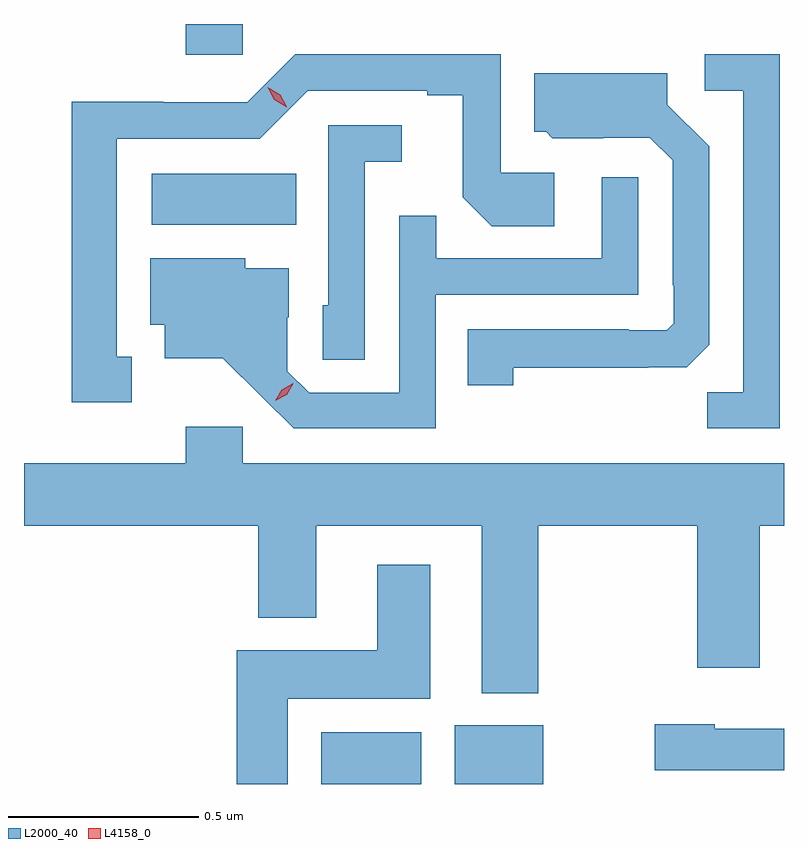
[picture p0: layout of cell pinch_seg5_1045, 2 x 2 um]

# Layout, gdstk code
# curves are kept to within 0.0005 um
import gdstk
lib = gdstk.Library(unit=1e-6, precision=1e-09)
def R(c, l, rs):  # rectangles x0, y0, x1, y1
    for r in rs: c.add(gdstk.rectangle(r[:2], r[2:], *l))
def P(c, l, *ps):  # polygons
    for p in ps: c.add(gdstk.Polygon(p, *l))
L2000_40 = (2000, 40)
L4158_0 = (4158, 0)

pinch_seg5_1045 = lib.new_cell('pinch_seg5_1045')
R(pinch_seg5_1045, L2000_40, [(751.43,841.428,751.693,841.564), (751.781,841.428,752.014,841.582), (750.984,842.9,751.364,843.034), (751.073,843.347,751.224,843.428)])
P(pinch_seg5_1045, L2000_40, [(750.931,842.553),(750.892,842.553),(750.892,843.126),(751.269,843.126),(751.395,843.252),(751.709,843.252),(751.709,843.24),(751.803,843.24),(751.803,842.972),(751.879,842.896),(752.044,842.896),(752.044,843.036),(751.902,843.036),(751.902,843.348),(751.362,843.348),(751.236,843.222),(751.014,843.222),(751.014,843.224),(750.774,843.224),(750.774,842.433),(750.931,842.433)],
  [(752.637,843.348),(752.439,843.348),(752.439,843.252),(752.541,843.252),(752.541,842.459),(752.446,842.459),(752.446,842.364),(752.637,842.364)],
  [(751.935,842.524),(752.291,842.524),(752.291,842.525),(752.392,842.525),(752.451,842.584),(752.451,843.106),(752.341,843.216),(752.341,843.298),(751.991,843.298),(751.991,843.144),(752.022,843.144),(752.038,843.128),(752.172,843.128),(752.172,843.129),(752.295,843.129),(752.355,843.069),(752.355,842.74),(752.358,842.74),(752.358,842.64),(752.34,842.622),(752.24,842.622),(752.24,842.625),(751.816,842.625),(751.816,842.478),(751.935,842.478)],
  [(751.545,843.065),(751.642,843.065),(751.642,843.162),(751.449,843.162),(751.449,842.688),(751.434,842.688),(751.434,842.545),(751.545,842.545)],
  [(751.731,842.715),(752.265,842.715),(752.265,843.025),(752.169,843.025),(752.169,842.811),(751.733,842.811),(751.733,842.924),(751.635,842.924),(751.635,842.457),(751.398,842.457),(751.341,842.514),(751.341,842.656),(751.345,842.656),(751.345,842.785),(751.23,842.785),(751.23,842.812),(750.98,842.812),(750.98,842.636),(751.019,842.636),(751.019,842.549),(751.171,842.549),(751.358,842.364),(751.731,842.364)],
  [(752.001,842.108),(752.42,842.108),(752.42,841.734),(752.584,841.734),(752.584,842.108),(752.648,842.108),(752.648,842.272),(751.224,842.272),(751.224,842.368),(751.073,842.368),(751.073,842.272),(750.648,842.272),(750.648,842.108),(751.265,842.108),(751.265,841.865),(751.417,841.865),(751.417,842.108),(751.853,842.108),(751.853,841.667),(752.001,841.667)],
  [(751.342,841.652),(751.717,841.652),(751.717,842.005),(751.577,842.005),(751.577,841.78),(751.208,841.78),(751.208,841.428),(751.342,841.428)],
  [(752.648,841.573),(752.466,841.573),(752.466,841.585),(752.308,841.585),(752.308,841.464),(752.648,841.464)])
P(pinch_seg5_1045, L4158_0, [(751.309,842.437),(751.309,842.437),(751.326,842.466),(751.356,842.482),(751.357,842.482),(751.357,842.481),(751.34,842.452),(751.309,842.437)],
  [(751.339,843.209),(751.307,843.229),(751.29,843.262),(751.29,843.262),(751.29,843.262),(751.322,843.242),(751.339,843.21),(751.339,843.209)])

lib.write_gds('pinch_seg5_1045.gds')
